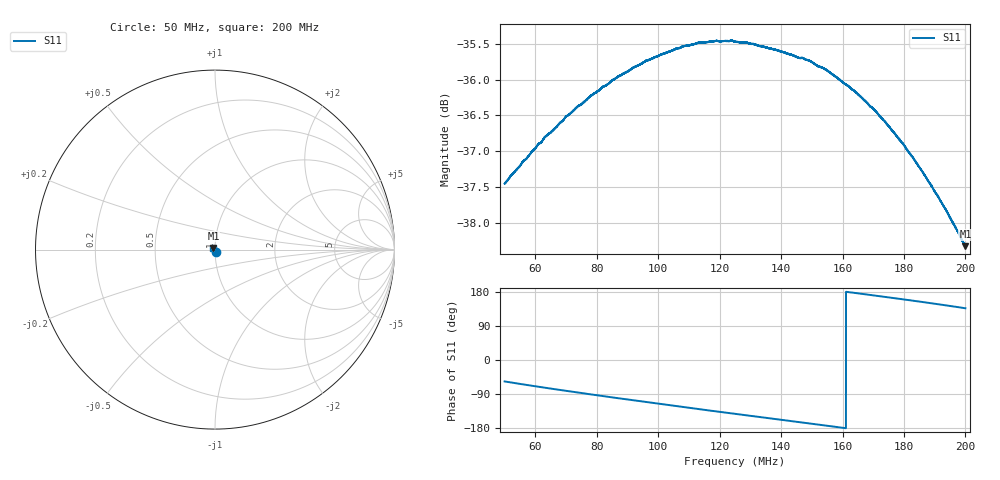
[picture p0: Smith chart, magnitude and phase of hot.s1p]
! COPPER MOUNTAIN TECHNOLOGIES, PLANAR TR1300/1, 00071119, 20.2.2/1.0
! Date: 1/7/2024 7:13:53 PM
! Data: Format [Calibration Info]
! Freq  S11: Re/Im F1
# HZ S RI R 50
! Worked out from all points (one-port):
!   12288 points, 50 MHz to 200 MHz, reference 50 ohm
!   lowest |S11| = -38.3 dB at 200 MHz (marker M1), VSWR 1.02, Z = 49.1 + j0.82 ohm
!   |S11| at or under -10 dB: start of sweep to end of sweep
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5e7  0.0074 -0.0112
5.068365e7  0.00724 -0.0113
6.327012e7  0.00415 -0.0139
6.875153e7  0.00261 -0.0146
7.353707e7  0.00122 -0.0151
7.533165e7  0.00067 -0.0152
7.817612e7  -0.000226 -0.0154
8.750305e7  -0.00316 -0.0156
9.591438e7  -0.00579 -0.0153
1.062546e8  -0.00891 -0.0141
1.134207e8  -0.0108 -0.0129
1.188777e8  -0.012 -0.0118
1.250061e8  -0.0133 -0.0104
1.312444e8  -0.0143 -0.00873
1.437576e8  -0.0156 -0.0052
1.493001e8  -0.016 -0.00353
1.518027e8  -0.016 -0.00279
1.541711e8  -0.016 -0.00208
1.625092e8  -0.0156 0.00039
1.645845e8  -0.0155 0.000976
1.705665e8  -0.0149 0.00262
1.770001e8  -0.0139 0.00424
1.812607e8  -0.0131 0.00522
1.86327e8  -0.0121 0.00625
1.91198e8  -0.011 0.00713
1.939692e8  -0.0103 0.00756
1.993164e8  -0.00896 0.00826
2e8  -0.00879 0.00834
